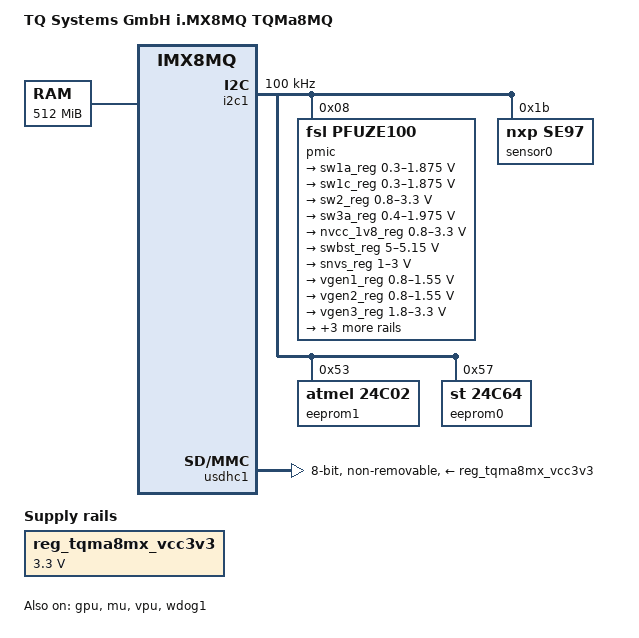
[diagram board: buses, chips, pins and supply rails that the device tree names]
/*
 * Copyright (C) 2016 Freescale Semiconductor, Inc.
 * Copyright 2017 NXP
 * Copyright 2019 TQ Systems GmbH
 *
 * This program is free software; you can redistribute it and/or
 * modify it under the terms of the GNU General Public License
 * as published by the Free Software Foundation; either version 2
 * of the License, or (at your option) any later version.
 *
 * This program is distributed in the hope that it will be useful,
 * but WITHOUT ANY WARRANTY; without even the implied warranty of
 * MERCHANTABILITY or FITNESS FOR A PARTICULAR PURPOSE.  See the
 * GNU General Public License for more details.
 */

/* First 128KB is for PSCI ATF. */
/memreserve/ 0x40000000 0x00020000;

#include "fsl-imx8mq.dtsi"

/ {
	model = "TQ Systems GmbH i.MX8MQ TQMa8MQ";
	compatible = "tq,imx8mq-tqma8mq", "fsl,imx8mq";

	chosen {
	};

	reg_tqma8mx_vcc3v3: tqma8mx_vcc3v3 {
		compatible = "regulator-fixed";
		regulator-name = "TQMA8MX_VCC3V3";
		regulator-min-microvolt = <3300000>;
		regulator-max-microvolt = <3300000>;
		regulator-always-on;
	};

	memory@40000000 {
		device_type = "memory";
		/*  our minimum RAM config will be 512 MiB */
		reg = <0x00000000 0x40000000 0 0x20000000>;
	};

	reserved-memory {
		#address-cells = <2>;
		#size-cells = <2>;
		ranges;

		/* global autoconfigured region for contiguous allocations */
		linux,cma {
			compatible = "shared-dma-pool";
			reusable;
			/* 256 + 128 MiB = 384 */
			size = <0 0x18000000>;
			/*  512 - 64 MiB, our minimum RAM config will be 512 MiB */
			alloc-ranges = <0 0x40000000 0 0x1C000000>;
			linux,cma-default;
		};

		/* disable until we fix it */
		/delete-node/ rpmsg@0x78000000;
	};
};

&gpu {
	status = "okay";
};

&gpu_pd {
	power-supply = <&sw1a_reg>;
};

&iomuxc {
	pinctrl-names = "default";

	imx8mq-tqma8mq {
		pinctrl_i2c1: i2c1grp {
			fsl,pins = <
				MX8MQ_IOMUXC_I2C1_SCL_I2C1_SCL			0x4000007f
				MX8MQ_IOMUXC_I2C1_SDA_I2C1_SDA			0x4000007f
			>;
		};

		pinctrl_qspi: qspigrp {
			fsl,pins = <
				MX8MQ_IOMUXC_NAND_ALE_QSPI_A_SCLK	0x82
				MX8MQ_IOMUXC_NAND_CE0_B_QSPI_A_SS0_B	0x82
				MX8MQ_IOMUXC_NAND_DATA00_QSPI_A_DATA0	0x82
				MX8MQ_IOMUXC_NAND_DATA01_QSPI_A_DATA1	0x82
				MX8MQ_IOMUXC_NAND_DATA02_QSPI_A_DATA2	0x82
				MX8MQ_IOMUXC_NAND_DATA03_QSPI_A_DATA3	0x82
			>;
		};

		pinctrl_usdhc1: usdhc1grp {
			fsl,pins = <
				MX8MQ_IOMUXC_SD1_CLK_USDHC1_CLK			0x83
				MX8MQ_IOMUXC_SD1_CMD_USDHC1_CMD			0xc3
				MX8MQ_IOMUXC_SD1_DATA0_USDHC1_DATA0		0xc3
				MX8MQ_IOMUXC_SD1_DATA1_USDHC1_DATA1		0xc3
				MX8MQ_IOMUXC_SD1_DATA2_USDHC1_DATA2		0xc3
				MX8MQ_IOMUXC_SD1_DATA3_USDHC1_DATA3		0xc3
				MX8MQ_IOMUXC_SD1_DATA4_USDHC1_DATA4		0xc3
				MX8MQ_IOMUXC_SD1_DATA5_USDHC1_DATA5		0xc3
				MX8MQ_IOMUXC_SD1_DATA6_USDHC1_DATA6		0xc3
				MX8MQ_IOMUXC_SD1_DATA7_USDHC1_DATA7		0xc3
				MX8MQ_IOMUXC_SD1_STROBE_USDHC1_STROBE 		0x83
				MX8MQ_IOMUXC_SD1_RESET_B_USDHC1_RESET_B		0xc1
			>;
		};

		pinctrl_usdhc1_100mhz: usdhc1grp100mhz {
			fsl,pins = <
				MX8MQ_IOMUXC_SD1_CLK_USDHC1_CLK			0x85
				MX8MQ_IOMUXC_SD1_CMD_USDHC1_CMD			0xc5
				MX8MQ_IOMUXC_SD1_DATA0_USDHC1_DATA0		0xc5
				MX8MQ_IOMUXC_SD1_DATA1_USDHC1_DATA1		0xc5
				MX8MQ_IOMUXC_SD1_DATA2_USDHC1_DATA2		0xc5
				MX8MQ_IOMUXC_SD1_DATA3_USDHC1_DATA3		0xc5
				MX8MQ_IOMUXC_SD1_DATA4_USDHC1_DATA4		0xc5
				MX8MQ_IOMUXC_SD1_DATA5_USDHC1_DATA5		0xc5
				MX8MQ_IOMUXC_SD1_DATA6_USDHC1_DATA6		0xc5
				MX8MQ_IOMUXC_SD1_DATA7_USDHC1_DATA7		0xc5
				MX8MQ_IOMUXC_SD1_STROBE_USDHC1_STROBE 		0x85
				MX8MQ_IOMUXC_SD1_RESET_B_USDHC1_RESET_B		0xc1
			>;
		};

		pinctrl_usdhc1_200mhz: usdhc1grp200mhz {
			fsl,pins = <
				MX8MQ_IOMUXC_SD1_CLK_USDHC1_CLK			0x87
				MX8MQ_IOMUXC_SD1_CMD_USDHC1_CMD			0xc7
				MX8MQ_IOMUXC_SD1_DATA0_USDHC1_DATA0		0xc7
				MX8MQ_IOMUXC_SD1_DATA1_USDHC1_DATA1		0xc7
				MX8MQ_IOMUXC_SD1_DATA2_USDHC1_DATA2		0xc7
				MX8MQ_IOMUXC_SD1_DATA3_USDHC1_DATA3		0xc7
				MX8MQ_IOMUXC_SD1_DATA4_USDHC1_DATA4		0xc7
				MX8MQ_IOMUXC_SD1_DATA5_USDHC1_DATA5		0xc7
				MX8MQ_IOMUXC_SD1_DATA6_USDHC1_DATA6		0xc7
				MX8MQ_IOMUXC_SD1_DATA7_USDHC1_DATA7		0xc7
				MX8MQ_IOMUXC_SD1_STROBE_USDHC1_STROBE 		0x87
				MX8MQ_IOMUXC_SD1_RESET_B_USDHC1_RESET_B		0xc1
			>;
		};

		pinctrl_wdog: wdoggrp {
			fsl,pins = <
				MX8MQ_IOMUXC_GPIO1_IO02_WDOG1_WDOG_B 0xc6
			>;
		};
	};
};

&i2c1 {
	clock-frequency = <100000>;
	pinctrl-names = "default";
	pinctrl-0 = <&pinctrl_i2c1>;
	status = "okay";

	pmic: pfuze100@08 {
		compatible = "fsl,pfuze100";
		reg = <0x08>;

		regulators {
			sw1a_reg: sw1ab {
				regulator-min-microvolt = <300000>;
				regulator-max-microvolt = <1875000>;
				regulator-always-on;
			};

			sw1c_reg: sw1c {
				regulator-min-microvolt = <300000>;
				regulator-max-microvolt = <1875000>;
				regulator-always-on;
			};

			sw2_reg: sw2 {
				regulator-min-microvolt = <800000>;
				regulator-max-microvolt = <3300000>;
				regulator-always-on;
			};

			sw3a_reg: sw3ab {
				regulator-min-microvolt = <400000>;
				regulator-max-microvolt = <1975000>;
				regulator-always-on;
			};

			nvcc_1v8_reg: sw4 {
				regulator-min-microvolt = <800000>;
				regulator-max-microvolt = <3300000>;
				regulator-always-on;
			};

			swbst_reg: swbst {
				regulator-min-microvolt = <5000000>;
				regulator-max-microvolt = <5150000>;
			};

			snvs_reg: vsnvs {
				regulator-min-microvolt = <1000000>;
				regulator-max-microvolt = <3000000>;
				regulator-always-on;
			};

			vref_reg: vrefddr {
				regulator-always-on;
			};

			vgen1_reg: vgen1 {
				regulator-min-microvolt = <800000>;
				regulator-max-microvolt = <1550000>;
			};

			vgen2_reg: vgen2 {
				regulator-min-microvolt = <800000>;
				regulator-max-microvolt = <1550000>;
				regulator-always-on;
			};

			vgen3_reg: vgen3 {
				regulator-min-microvolt = <1800000>;
				regulator-max-microvolt = <3300000>;
				regulator-always-on;
			};

			vgen4_reg: vgen4 {
				regulator-min-microvolt = <1800000>;
				regulator-max-microvolt = <3300000>;
				regulator-always-on;
			};

			vgen5_reg: vgen5 {
				regulator-min-microvolt = <1800000>;
				regulator-max-microvolt = <3300000>;
				regulator-always-on;
			};

			vgen6_reg: vgen6 {
				regulator-min-microvolt = <1800000>;
				regulator-max-microvolt = <3300000>;
			};
		};
	};

	/*
	 * NXP SE97BTP with temperature sensor + eeprom
	 * ATTENTION: do not use correct dt compatible since this will conflict
	 * with hwmon sysfs ABI and break device registration
	 */
	sensor0: jc42@1b {
		compatible = "nxp,se97", "jedec,jc-42.4-temp";
		reg = <0x1b>;
		status = "okay";
	};

	eeprom1: 24c02@53 {
		compatible = "atmel,24c02";
		reg = <0x53>;
		pagesize = <16>;
		status = "okay";
	};

	eeprom0: m24c64@57 {
		compatible = "st,24c64", "atmel,24c64", "at24";
		reg = <0x57>;
		pagesize = <32>;
		status = "okay";
	};
};

&mu {
	status = "okay";
};

/* TODO: not working */
&qspi {
	pinctrl-names = "default";
	pinctrl-0 = <&pinctrl_qspi>;
	status = "disabled";

	flash0: n25q256a@0 {
		reg = <0>;
		#address-cells = <1>;
		#size-cells = <1>;
		compatible = "micron,n25q256a";
		spi-max-frequency = <29000000>;
		spi-nor,ddr-quad-read-dummy = <6>;
	};
};

&rpmsg{
	status = "disabled";
};

&usdhc1 {
	pinctrl-names = "default", "state_100mhz", "state_200mhz";
	pinctrl-0 = <&pinctrl_usdhc1>;
	pinctrl-1 = <&pinctrl_usdhc1_100mhz>;
	pinctrl-2 = <&pinctrl_usdhc1_200mhz>;
	bus-width = <8>;
	non-removable;
	vmmc-supply = <&reg_tqma8mx_vcc3v3>;
	vqmmc-supply = <&nvcc_1v8_reg>;

	status = "okay";
};

&vpu {
	status = "okay";
};

&vpu_pd {
	power-supply = <&sw1c_reg>;
};

/* TODO: wdog reset has issues */
&wdog1 {
	pinctrl-names = "default";
	pinctrl-0 = <&pinctrl_wdog>;
	fsl,ext-reset-output;
	status = "okay";
};
